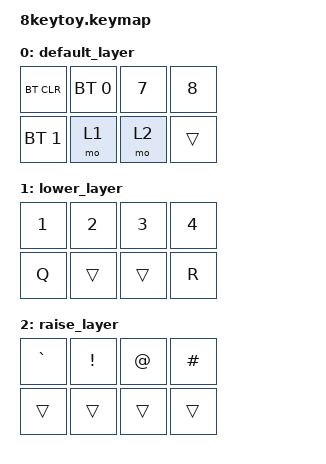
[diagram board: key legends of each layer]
/*
 * Copyright (c) 2020 The ZMK Contributors
 *
 * SPDX-License-Identifier: MIT
 */

#include <behaviors.dtsi>
#include <dt-bindings/zmk/keys.h>
#include <dt-bindings/zmk/bt.h>

/ {
	keymap {
		compatible = "zmk,keymap";

		default_layer {
			bindings = <
&bt BT_CLR    &bt BT_SEL 0  &kp N7  &kp N8
&bt BT_SEL 1  &mo 1         &mo 2   &trans
			>;
		};

		lower_layer {
			bindings = <
&kp N1  &kp N2  &kp N3  &kp N4
&kp Q   &trans  &trans   &kp R
			>;
		};

		raise_layer {
			bindings = <
&kp GRAVE  &kp EXCL     &kp AT       &kp HASH
&trans     &trans       &trans       &trans
			>;
		};
	};
};
